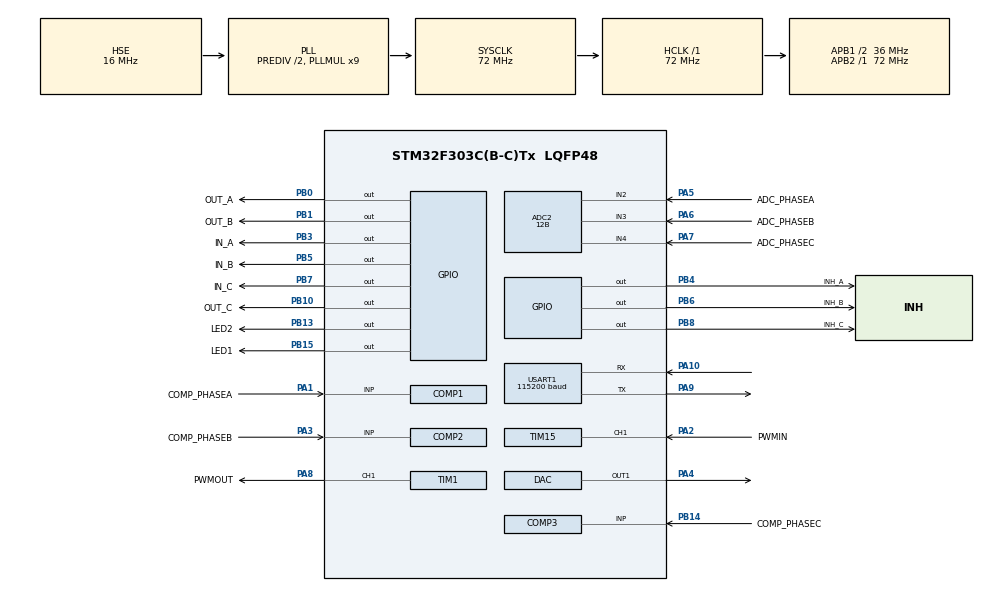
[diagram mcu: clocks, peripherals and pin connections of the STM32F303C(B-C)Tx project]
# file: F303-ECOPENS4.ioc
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ADC2.Channel-1\#ChannelRegularConversion=ADC_CHANNEL_2
ADC2.Channel-2\#ChannelRegularConversion=ADC_CHANNEL_3
ADC2.Channel-3\#ChannelRegularConversion=ADC_CHANNEL_4
ADC2.ClockPrescaler=ADC_CLOCK_ASYNC_DIV1
ADC2.ContinuousConvMode=ENABLE
ADC2.DMAContinuousRequests=ENABLE
ADC2.EOCSelection=ADC_EOC_SEQ_CONV
ADC2.EnableAnalogWatchDog1=false
ADC2.EnableAnalogWatchDog2=false
ADC2.EnableAnalogWatchDog3=false
ADC2.EnableInjectedConversion=DISABLE
ADC2.ExternalTrigConv=ADC_EXTERNALTRIGCONV_T1_TRGO2
ADC2.ExternalTrigConvEdge=ADC_EXTERNALTRIGCONVEDGE_RISING
ADC2.NbrOfConversion=3
ADC2.NbrOfConversionFlag=1
ADC2.Offset-1\#ChannelRegularConversion=0
ADC2.Offset-2\#ChannelRegularConversion=0
ADC2.Offset-3\#ChannelRegularConversion=0
ADC2.OffsetNumber-1\#ChannelRegularConversion=ADC_OFFSET_NONE
ADC2.OffsetNumber-2\#ChannelRegularConversion=ADC_OFFSET_NONE
ADC2.OffsetNumber-3\#ChannelRegularConversion=ADC_OFFSET_NONE
ADC2.Rank-1\#ChannelRegularConversion=1
ADC2.Rank-2\#ChannelRegularConversion=2
ADC2.Rank-3\#ChannelRegularConversion=3
ADC2.Resolution=ADC_RESOLUTION_12B
ADC2.SamplingTime-1\#ChannelRegularConversion=ADC_SAMPLETIME_4CYCLES_5
ADC2.SamplingTime-2\#ChannelRegularConversion=ADC_SAMPLETIME_4CYCLES_5
ADC2.SamplingTime-3\#ChannelRegularConversion=ADC_SAMPLETIME_4CYCLES_5
ADC2.SamplingTimeOPAMP-2\#ChannelRegularConversion=ADC_SAMPLETIME_4CYCLES_5
ADC2.SamplingTimeOPAMP-3\#ChannelRegularConversion=ADC_SAMPLETIME_4CYCLES_5
COMP1.BlankingSrce=COMP_BLANKINGSRCE_TIM1OC5
COMP1.InvertingInput=COMP_INVERTINGINPUT_DAC1_CH1
COMP1.TriggerMode=COMP_TRIGGERMODE_IT_RISING_FALLING
COMP2.BlankingSrce=COMP_BLANKINGSRCE_TIM1OC5
COMP2.InvertingInput=COMP_INVERTINGINPUT_DAC1_CH1
COMP2.TriggerMode=COMP_TRIGGERMODE_IT_RISING_FALLING
COMP3.BlankingSrce=COMP_BLANKINGSRCE_TIM1OC5
COMP3.InvertingInput=COMP_INVERTINGINPUT_DAC1_CH1
COMP3.TriggerMode=COMP_TRIGGERMODE_IT_RISING_FALLING
Dma.ADC2.1.Direction=DMA_PERIPH_TO_MEMORY
Dma.ADC2.1.Instance=DMA2_Channel1
Dma.ADC2.1.MemDataAlignment=DMA_MDATAALIGN_HALFWORD
Dma.ADC2.1.MemInc=DMA_MINC_ENABLE
Dma.ADC2.1.Mode=DMA_CIRCULAR
Dma.ADC2.1.PeriphDataAlignment=DMA_PDATAALIGN_HALFWORD
Dma.ADC2.1.PeriphInc=DMA_PINC_DISABLE
Dma.ADC2.1.Priority=DMA_PRIORITY_LOW
Dma.Request0=USART1_RX
Dma.Request1=ADC2
Dma.USART1_RX.0.Direction=DMA_PERIPH_TO_MEMORY
Dma.USART1_RX.0.Instance=DMA1_Channel5
Dma.USART1_RX.0.MemDataAlignment=DMA_MDATAALIGN_BYTE
Dma.USART1_RX.0.MemInc=DMA_MINC_ENABLE
Dma.USART1_RX.0.Mode=DMA_CIRCULAR
Dma.USART1_RX.0.PeriphDataAlignment=DMA_PDATAALIGN_BYTE
Dma.USART1_RX.0.PeriphInc=DMA_PINC_DISABLE
Dma.USART1_RX.0.Priority=DMA_PRIORITY_LOW
FREERTOS.Tasks01=comparatorTask,48,256,StartComparatorTask,Default,NULL,Dynamic,NULL,NULL;analogInTask,40,256,StartAnalogInTask,Default,NULL,Dynamic,NULL,NULL;controllerTask,24,256,StartControllerTask,Default,NULL,Dynamic,NULL,NULL;positioningTask,49,256,StartPositioningTask,Default,NULL,Dynamic,NULL,NULL
FREERTOS.configMINIMAL_STACK_SIZE=256
FREERTOS.configTOTAL_HEAP_SIZE=10000
Mcu.Family=STM32F3
Mcu.Name=STM32F303C(B-C)Tx
Mcu.Package=LQFP48
NVIC.ADC1_2_IRQn=true\:5\:0\:false\:false\:true\:true\:true\:true
NVIC.COMP1_2_3_IRQn=true\:5\:0\:false\:false\:true\:true\:false\:true
NVIC.DMA1_Channel5_IRQn=true\:5\:0\:true\:false\:true\:true\:false\:true
NVIC.DMA2_Channel1_IRQn=true\:5\:0\:false\:false\:true\:true\:false\:true
NVIC.PriorityGroup=NVIC_PRIORITYGROUP_4
NVIC.TIM1_BRK_TIM15_IRQn=true\:5\:0\:true\:false\:true\:true\:true\:true
NVIC.TIM1_CC_IRQn=true\:5\:0\:false\:false\:true\:true\:true\:true
NVIC.TIM1_UP_TIM16_IRQn=true\:5\:0\:true\:false\:true\:true\:true\:true
NVIC.TIM3_IRQn=true\:5\:0\:false\:false\:true\:true\:true\:true
NVIC.TIM6_DAC_IRQn=true\:5\:0\:true\:false\:true\:true\:true\:true
NVIC.TIM7_IRQn=true\:15\:0\:false\:false\:true\:false\:false\:true
NVIC.TimeBase=TIM7_IRQn
NVIC.TimeBaseIP=TIM7
PA0.GPIO_Label=ADC_CS
PA0.Signal=ADC1_IN1
PA1.GPIO_Label=COMP_PHASEA
PA1.Mode=INP
PA1.Signal=COMP1_INP
PA10.Mode=Asynchronous
PA10.Signal=USART1_RX
PA13.Mode=Serial_Wire
PA13.Signal=SYS_JTMS-SWDIO
PA14.Mode=Serial_Wire
PA14.Signal=SYS_JTCK-SWCLK
PA2.GPIO_Label=PWMIN
PA2.GPIO_PuPd=GPIO_PULLDOWN
PA2.GPIO_Speed=GPIO_SPEED_FREQ_LOW
PA2.Signal=S_TIM15_CH1
PA3.GPIO_Label=COMP_PHASEB
PA3.Mode=INP
PA3.Signal=COMP2_INP
PA4.Signal=COMP_DAC1_group
PA5.GPIO_Label=ADC_PHASEA
PA5.Mode=IN2-Single-Ended
PA5.Signal=ADC2_IN2
PA6.GPIO_Label=ADC_PHASEB
PA6.Mode=IN3-Single-Ended
PA6.Signal=ADC2_IN3
PA7.GPIO_Label=ADC_PHASEC
PA7.Mode=IN4-Single-Ended
PA7.Signal=ADC2_IN4
PA8.GPIO_Label=PWMOUT
PA8.GPIO_PuPd=GPIO_PULLDOWN
PA8.GPIO_Speed=GPIO_SPEED_FREQ_HIGH
PA8.Signal=S_TIM1_CH1
PA9.Mode=Asynchronous
PA9.Signal=USART1_TX
PB0.GPIO_Label=OUT_A
PB0.GPIO_ModeDefaultOutputPP=GPIO_MODE_OUTPUT_OD
PB0.PinState=GPIO_PIN_RESET
PB0.Signal=GPIO_Output
PB1.GPIO_Label=OUT_B
PB1.GPIO_ModeDefaultOutputPP=GPIO_MODE_OUTPUT_OD
PB1.PinState=GPIO_PIN_RESET
PB1.Signal=GPIO_Output
PB10.GPIO_Label=OUT_C
PB10.GPIO_ModeDefaultOutputPP=GPIO_MODE_OUTPUT_OD
PB10.Signal=GPIO_Output
PB12.GPIO_Label=ADC_VBUS
PB12.Signal=ADC4_IN3
PB13.GPIO_Label=LED2
PB13.Signal=GPIO_Output
PB14.GPIO_Label=COMP_PHASEC
PB14.Mode=INP
PB14.Signal=COMP3_INP
PB15.GPIO_Label=LED1
PB15.Signal=GPIO_Output
PB3.GPIO_Label=IN_A
PB3.GPIO_ModeDefaultOutputPP=GPIO_MODE_OUTPUT_OD
PB3.Signal=GPIO_Output
PB4.GPIO_Label=INH_A
PB4.Signal=GPIO_Output
PB5.GPIO_Label=IN_B
PB5.GPIO_ModeDefaultOutputPP=GPIO_MODE_OUTPUT_OD
PB5.Signal=GPIO_Output
PB6.GPIO_Label=INH_B
PB6.Signal=GPIO_Output
PB7.GPIO_Label=IN_C
PB7.GPIO_ModeDefaultOutputPP=GPIO_MODE_OUTPUT_OD
PB7.Signal=GPIO_Output
PB8.GPIO_Label=INH_C
PB8.Signal=GPIO_Output
PF0-OSC_IN.Mode=HSE-External-Oscillator
PF0-OSC_IN.Signal=RCC_OSC_IN
PF1-OSC_OUT.Mode=HSE-External-Oscillator
PF1-OSC_OUT.Signal=RCC_OSC_OUT
ProjectManager.HeapSize=0x200
ProjectManager.StackSize=0x400
ProjectManager.TargetToolchain=STM32CubeIDE
RCC.ADC12PRES=RCC_ADC12PLLCLK_DIV2
RCC.ADC34PRES=RCC_ADC34PLLCLK_DIV12
RCC.AHBFreq_Value=72000000
RCC.APB1CLKDivider=RCC_HCLK_DIV2
RCC.APB1Freq_Value=36000000
RCC.APB1TimFreq_Value=72000000
RCC.APB2Freq_Value=72000000
RCC.APB2TimFreq_Value=72000000
RCC.CortexFreq_Value=72000000
RCC.HCLKFreq_Value=72000000
RCC.HSE_VALUE=16000000
RCC.HSI_VALUE=8000000
RCC.LSE_VALUE=32768
RCC.PLLMUL=RCC_PLL_MUL9
RCC.PLLSourceVirtual=RCC_PLLSOURCE_HSE
RCC.RCC_PLLsource_Clock_Source_FROM_HSE=RCC_HSE_PREDIV_DIV2
RCC.SYSCLKFreq_VALUE=72000000
RCC.SYSCLKSourceVirtual=RCC_SYSCLKSOURCE_PLLCLK
RCC.USBFreq_Value=72000000
SH.COMP_DAC1_group.0=DAC_OUT1,DAC_OUT1
SH.S_TIM15_CH1.0=TIM15_CH1,Input_Capture1_from_TI1
SH.S_TIM1_CH1.0=TIM1_CH1,PWM Generation1 CH1
TIM1.Channel-PWM\ Generation1\ CH1=TIM_CHANNEL_1
TIM1.Channel-PWM\ Generation5\ No\ Output=TIM_CHANNEL_5
TIM1.CounterMode=TIM_COUNTERMODE_CENTERALIGNED3
TIM1.OCFastMode_PWM-PWM\ Generation1\ CH1=TIM_OCFAST_ENABLE
TIM1.OCFastMode_PWM-PWM\ Generation5\ No\ Output=TIM_OCFAST_ENABLE
TIM1.OCIdleState_1=TIM_OCIDLESTATE_SET
TIM1.OCIdleState_5=TIM_OCIDLESTATE_SET
TIM1.OCMode_PWM-PWM\ Generation1\ CH1=TIM_OCMODE_PWM1
TIM1.Period=1800
TIM1.Prescaler=0
TIM1.Pulse-PWM\ Generation1\ CH1=0
TIM1.TIM_MasterOutputTrigger=TIM_TRGO_UPDATE
TIM1.TIM_MasterOutputTrigger2=TIM_TRGO2_OC5REF
TIM15.Channel-Input_Capture1_from_TI1=TIM_CHANNEL_1
TIM15.Channel-Input_Capture2_from_TI1_63=TIM_CHANNEL_2
TIM15.ICPolarity_CH2=TIM_INPUTCHANNELPOLARITY_FALLING
TIM15.Prescaler=72 - 1
TIM16.Period=1000
TIM16.Prescaler=72 - 1
TIM2.ClockDivision=TIM_CLOCKDIVISION_DIV1
TIM2.Prescaler=0
TIM3.Channel-Output\ Compare1\ No\ Output=TIM_CHANNEL_1
TIM3.Period=65000
TIM3.Prescaler=1
TIM3.Pulse-Output\ Compare1\ No\ Output=500
TIM6.Period=10
TIM6.Prescaler=72 - 1
USART1.BaudRate=115200
USART1.VirtualMode-Asynchronous=VM_ASYNC
VP_COMP1_VS_DAC1OUT1.Mode=INM_DACOUT1
VP_COMP2_VS_DAC1OUT1.Mode=INM_DACOUT1
VP_COMP3_VS_DAC1OUT1.Mode=INM_DACOUT1
VP_FREERTOS_VS_CMSIS_V2.Mode=CMSIS_V2
VP_SYS_VS_tim7.Mode=TIM7
VP_TIM15_VS_ClockSourceINT.Mode=Internal
VP_TIM15_VS_indirect_ch1.Mode=Input_Capture2_from_TI1_63
VP_TIM16_VS_ClockSourceINT.Mode=Enable_Timer
VP_TIM1_VS_no_output5.Mode=PWM Generation5 No Output
VP_TIM2_VS_ClockSourceINT.Mode=Internal
VP_TIM3_VS_no_output1.Mode=Output Compare1 No Output
VP_TIM6_VS_ClockSourceINT.Mode=Enable_Timer
board=custom

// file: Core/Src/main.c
/* USER CODE BEGIN Header */
/**
 ******************************************************************************
 * @file           : main.c
 * @brief          : Main program body
 ******************************************************************************
 * @attention
 *
 * <h2><center>&copy; Copyright (c) 2021 STMicroelectronics.
 * All rights reserved.</center></h2>
 *
 * This software component is licensed by ST under Ultimate Liberty license
 * SLA0044, the "License"; You may not use this file except in compliance with
 * the License. You may obtain a copy of the License at:
 *                             www.st.com/SLA0044
 *
 ******************************************************************************
 */
/* USER CODE END Header */
#include "main.h"
#include "cmsis_os.h"

/* USER CODE BEGIN Includes */
#include "retarget.h"
#include <stdio.h>
#include <stdbool.h>
#include <dwt_delay.h>
/* USER CODE END Includes */

/* USER CODE BEGIN PTD */
typedef enum {
	MODE_MOTOR_STOP,
	MODE_MOTOR_CALIBRATION,
	MODE_MOTOR_READY,
	MODE_MOTOR_START,
	MODE_MOTOR_RUN
} MODE_MOTOR_t;

typedef enum {
	BEMF_FALLING = 0, BEMF_RISING
} BEMF_DIR_t;

typedef enum {
	PHASE_A = 0, PHASE_B, PHASE_C
} PHASE_t;
/* USER CODE END PTD */

/* USER CODE BEGIN PD */
#define COMP1_CALLBACK 1
#define COMP2_CALLBACK 2
#define COMP3_CALLBACK 3
/* USER CODE END PD */

ADC_HandleTypeDef hadc2;
DMA_HandleTypeDef hdma_adc2;

COMP_HandleTypeDef hcomp1;
COMP_HandleTypeDef hcomp2;
COMP_HandleTypeDef hcomp3;

DAC_HandleTypeDef hdac;

TIM_HandleTypeDef htim1;
TIM_HandleTypeDef htim2;
TIM_HandleTypeDef htim3;
TIM_HandleTypeDef htim6;
TIM_HandleTypeDef htim15;
TIM_HandleTypeDef htim16;

UART_HandleTypeDef huart1;
DMA_HandleTypeDef hdma_usart1_rx;

/* Definitions for comparatorTask */
osThreadId_t comparatorTaskHandle;
const osThreadAttr_t comparatorTask_attributes = {
  .name = "comparatorTask",
  .stack_size = 256 * 4,
  .priority = (osPriority_t) osPriorityRealtime,
};
/* Definitions for analogInTask */
osThreadId_t analogInTaskHandle;
const osThreadAttr_t analogInTask_attributes = {
  .name = "analogInTask",
  .stack_size = 256 * 4,
  .priority = (osPriority_t) osPriorityHigh,
};
/* Definitions for controllerTask */
osThreadId_t controllerTaskHandle;
const osThreadAttr_t controllerTask_attributes = {
  .name = "controllerTask",
  .stack_size = 256 * 4,
  .priority = (osPriority_t) osPriorityNormal,
};
/* Definitions for positioningTask */
osThreadId_t positioningTaskHandle;
const osThreadAttr_t positioningTask_attributes = {
  .name = "positioningTask",
  .stack_size = 256 * 4,
  .priority = (osPriority_t) osPriorityRealtime1,
};
/* USER CODE BEGIN PV */
uint8_t compTrig = 0;

uint8_t buffer[200];
volatile uint16_t strSize;
volatile uint8_t commutationStepCounter;
volatile uint8_t waitForCommutation = 1;

uint32_t tim2cnt;
uint8_t RXBuffer[200];
bool USART1DataFlag = false;
float adcIntegral = 0;
bool adcDMAStarted = false;

volatile int16_t newPWM = 100;
volatile int16_t setPWM = 100;
volatile int16_t compWindowOffset = 250 * 2; //this opens a comparator window to block overshooting signals from triggering (adjust to Vbat)
volatile uint16_t oc5Value = 200; //preset offset-value (for fine tuning) of the DAC voltage output as the reference voltage for the compartors (about 0V or Vbat/2)
volatile uint8_t pwmState = 0; //indicates whether a zero crossing (pwm low) or a Vbat/2 crossing (pwm high) will be detected; 0 = PWM low detection, 1 = PWM high detection

ADC_ChannelConfTypeDef sConfig;
TIM_OC_InitTypeDef sConfigOC5B;
TIM_OC_InitTypeDef sConfigOC5A;
bool firstStart = false;

volatile bool readRotation = false;

float measuredRPM = 0;
float inputRPM = 0;
uint32_t rpm_cnt = 0;

uint16_t input_pwm_min = 1000;
uint16_t input_pwm_max = 2000;

uint32_t inputDutyCycle = 0;
uint32_t pastInputDutyCycle = 0;
float inputFrequency = 0;
uint16_t oc5ValueOld = 0;

uint16_t adcVbus = 3900;

PHASE_t phase_bemf = PHASE_B;

BEMF_DIR_t bemf_dir = BEMF_FALLING;

MODE_MOTOR_t mode_motor = MODE_MOTOR_STOP;

uint16_t adc2DMA[10] = { 0 };

float errorPWM = 0.0;
float integralErrorPWM = 0.0;

uint32_t IntegralOffset = 3800;
uint32_t errorVal = 5;

bool a = false;
bool x = false;
bool y = false;
bool z = false;

/* USER CODE END PV */

void SystemClock_Config(void);
static void MX_GPIO_Init(void);
static void MX_DMA_Init(void);
static void MX_COMP1_Init(void);
static void MX_COMP2_Init(void);
static void MX_COMP3_Init(void);
static void MX_DAC_Init(void);
static void MX_TIM1_Init(void);
static void MX_USART1_UART_Init(void);
static void MX_ADC2_Init(void);
static void MX_TIM15_Init(void);
static void MX_TIM2_Init(void);
static void MX_TIM6_Init(void);
static void MX_TIM16_Init(void);
static void MX_TIM3_Init(void);
void StartComparatorTask(void *argument);
void StartAnalogInTask(void *argument);
void StartControllerTask(void *argument);
void StartPositioningTask(void *argument);

/* USER CODE BEGIN 0 */

void commutateNow_0(void) {
	HAL_GPIO_WritePin(INH_A_GPIO_Port, INH_A_Pin, GPIO_PIN_SET); //PHASE A HIGH
	HAL_GPIO_WritePin(IN_A_GPIO_Port, IN_A_Pin, GPIO_PIN_SET);

	HAL_GPIO_WritePin(INH_B_GPIO_Port, INH_B_Pin, GPIO_PIN_RESET); //PHASE B FLOATING
	HAL_GPIO_WritePin(IN_B_GPIO_Port, IN_B_Pin, GPIO_PIN_RESET);

	HAL_GPIO_WritePin(INH_C_GPIO_Port, INH_C_Pin, GPIO_PIN_SET); //PHASE C LOW
	HAL_GPIO_WritePin(IN_C_GPIO_Port, IN_C_Pin, GPIO_PIN_RESET);
}

void commutateNow_1(void) {
	HAL_GPIO_WritePin(INH_A_GPIO_Port, INH_A_Pin, GPIO_PIN_RESET); //PHASE A FLOATING
	HAL_GPIO_WritePin(IN_A_GPIO_Port, IN_A_Pin, GPIO_PIN_RESET);

	HAL_GPIO_WritePin(INH_B_GPIO_Port, INH_B_Pin, GPIO_PIN_SET); //PHASE B HIGH
	HAL_GPIO_WritePin(IN_B_GPIO_Port, IN_B_Pin, GPIO_PIN_SET);

	HAL_GPIO_WritePin(INH_C_GPIO_Port, INH_C_Pin, GPIO_PIN_SET); //PHASE C LOW
	HAL_GPIO_WritePin(IN_C_GPIO_Port, IN_C_Pin, GPIO_PIN_RESET);
}

void commutateNow_2(void) {
	HAL_GPIO_WritePin(INH_A_GPIO_Port, INH_A_Pin, GPIO_PIN_SET); //PHASE A LOW
	HAL_GPIO_WritePin(IN_A_GPIO_Port, IN_A_Pin, GPIO_PIN_RESET);

	HAL_GPIO_WritePin(INH_B_GPIO_Port, INH_B_Pin, GPIO_PIN_SET); //PHASE B HIGH
	HAL_GPIO_WritePin(IN_B_GPIO_Port, IN_B_Pin, GPIO_PIN_SET);

	HAL_GPIO_WritePin(INH_C_GPIO_Port, INH_C_Pin, GPIO_PIN_RESET); //PHASE C FLOATING
	HAL_GPIO_WritePin(IN_C_GPIO_Port, IN_C_Pin, GPIO_PIN_RESET);
}

void commutateNow_3(void) {
	HAL_GPIO_WritePin(INH_A_GPIO_Port, INH_A_Pin, GPIO_PIN_SET); //PHASE A LOW
	HAL_GPIO_WritePin(IN_A_GPIO_Port, IN_A_Pin, GPIO_PIN_RESET);

	HAL_GPIO_WritePin(INH_B_GPIO_Port, INH_B_Pin, GPIO_PIN_RESET); //PHASE B FLOATING
	HAL_GPIO_WritePin(IN_B_GPIO_Port, IN_B_Pin, GPIO_PIN_RESET);

	HAL_GPIO_WritePin(INH_C_GPIO_Port, INH_C_Pin, GPIO_PIN_SET); //PHASE C HIGH
	HAL_GPIO_WritePin(IN_C_GPIO_Port, IN_C_Pin, GPIO_PIN_SET);

}

void commutateNow_4(void) {
	HAL_GPIO_WritePin(INH_A_GPIO_Port, INH_A_Pin, GPIO_PIN_RESET); //PHASE A FLOATING
	HAL_GPIO_WritePin(IN_A_GPIO_Port, IN_A_Pin, GPIO_PIN_RESET);

	HAL_GPIO_WritePin(INH_B_GPIO_Port, INH_B_Pin, GPIO_PIN_SET); //PHASE B LOW
	HAL_GPIO_WritePin(IN_B_GPIO_Port, IN_B_Pin, GPIO_PIN_RESET);

	HAL_GPIO_WritePin(INH_C_GPIO_Port, INH_C_Pin, GPIO_PIN_SET); //PHASE C HIGH
	HAL_GPIO_WritePin(IN_C_GPIO_Port, IN_C_Pin, GPIO_PIN_SET);

}
void commutateNow_5(void) {
	HAL_GPIO_WritePin(INH_A_GPIO_Port, INH_A_Pin, GPIO_PIN_SET); //PHASE A HIGH
	HAL_GPIO_WritePin(IN_A_GPIO_Port, IN_A_Pin, GPIO_PIN_SET);

	HAL_GPIO_WritePin(INH_B_GPIO_Port, INH_B_Pin, GPIO_PIN_SET); //PHASE B LOW
	HAL_GPIO_WritePin(IN_B_GPIO_Port, IN_B_Pin, GPIO_PIN_RESET);

	HAL_GPIO_WritePin(INH_C_GPIO_Port, INH_C_Pin, GPIO_PIN_RESET); //PHASE C FLOATING
	HAL_GPIO_WritePin(IN_C_GPIO_Port, IN_C_Pin, GPIO_PIN_RESET);
}

void commutationPattern(uint8_t step) {
	if (step == NEXT && waitForCommutation == 1) {
		bemf_dir = !bemf_dir;
		if (commutationStepCounter < STEP_5)
			commutationStepCounter++;
		else {
			commutationStepCounter = STEP_0;
		}
		switch (commutationStepCounter) {
		case STEP_0:
			commutateNow_0();
			COMPDELAY
			;
			waitForCommutation = 0;
			phase_bemf = PHASE_B;
			bemf_dir = BEMF_RISING;
			HAL_COMP_Start_IT(&hcomp2);
			break;
		case STEP_1:
			commutateNow_1();
			COMPDELAY
			;
			waitForCommutation = 0;
			phase_bemf = PHASE_A;
			bemf_dir = BEMF_FALLING;
			HAL_COMP_Start_IT(&hcomp1);
			break;
		case STEP_2:
			commutateNow_2();
			COMPDELAY
			;
			waitForCommutation = 0;
			phase_bemf = PHASE_C;
			bemf_dir = BEMF_RISING;
			HAL_COMP_Start_IT(&hcomp3);
			break;
		case STEP_3:
			commutateNow_3();
			COMPDELAY
			;
			waitForCommutation = 0;
			phase_bemf = PHASE_B;
			bemf_dir = BEMF_FALLING;
			HAL_COMP_Start_IT(&hcomp2);
			break;
		case STEP_4:
			commutateNow_4();
			COMPDELAY
			;
			waitForCommutation = 0;
			phase_bemf = PHASE_A;
			bemf_dir = BEMF_RISING;
			HAL_COMP_Start_IT(&hcomp1);
			break;
		case STEP_5:
			commutateNow_5();
			COMPDELAY
			;
			waitForCommutation = 0;
			phase_bemf = PHASE_C;
			bemf_dir = BEMF_FALLING;
			HAL_COMP_Start_IT(&hcomp3);
			break;
		}
	} else {
		waitForCommutation = 0;
		switch (step) {
		case STEP_0:
			commutateNow_0();
			break;
		case STEP_1:
			commutateNow_1();
			break;
		case STEP_2:
			commutateNow_2();
			break;
		case STEP_3:
			commutateNow_3();
			break;
		case STEP_4:
			commutateNow_4();
			break;
		case STEP_5:
			commutateNow_5();
			break;
		}
	}
}

void startMotor() {
	setPWM = newPWM = 150;

	TIM1->CCR1 = setPWM;
	TIM1->CCR5 = setPWM + compWindowOffset;

	commutateNow_0();
	HAL_Delay(20);
	commutateNow_1();
	HAL_Delay(20);
	commutateNow_2();
	HAL_Delay(20);
	commutateNow_3();
	HAL_Delay(20);
	commutateNow_4();
	HAL_Delay(20);
	commutateNow_5();
	HAL_Delay(20);

	uint8_t step = 0;
	uint16_t i = 4300;

	while (i > 1300) {
		DWT_Delay(i);
		commutationPattern(step);
		setPWM += 1;
		TIM1->CCR1 = newPWM = setPWM;
		TIM1->CCR1 = setPWM + compWindowOffset;
		step += 1;
		step %= 6;
		i -= 30;
	}

	waitForCommutation = 1;

	commutationStepCounter = step;
	commutationPattern(NEXT);

	mode_motor = MODE_MOTOR_RUN;
}

/* USER CODE END 0 */

int main(void)
{

  /* MCU Configuration--------------------------------------------------------*/

  /* Reset of all peripherals, Initializes the Flash interface and the Systick. */
  HAL_Init();

  /* Configure the system clock */
  SystemClock_Config();

  /* Initialize all configured peripherals */
  MX_GPIO_Init();
  MX_DMA_Init();
  MX_COMP1_Init();
  MX_COMP2_Init();
  MX_COMP3_Init();
  MX_DAC_Init();
  MX_TIM1_Init();
  MX_USART1_UART_Init();
  MX_ADC2_Init();
  MX_TIM15_Init();
  MX_TIM2_Init();
  MX_TIM6_Init();
  MX_TIM16_Init();
  MX_TIM3_Init();
  /* USER CODE BEGIN 2 */
	RetargetInit(&huart1);
	DWT_Init();
	printf("Test\r\n");
	printf("asdf\r\n");

//	HAL_ADC_Start(&hadc4);
//	while (__HAL_ADC_GET_FLAG(&hadc4, ADC_FLAG_EOC) != SET)
//		;

//	adcVbus = HAL_ADC_GetValue(&hadc4);

	sConfigOC5B.OCMode = TIM_OCMODE_PWM1;
	sConfigOC5B.OCFastMode = TIM_OCFAST_DISABLE;
	sConfigOC5B.OCIdleState = TIM_OCIDLESTATE_RESET;
	sConfigOC5B.OCPolarity = TIM_OCPOLARITY_HIGH; //HIGH for PWM low detection

	sConfigOC5A.OCMode = TIM_OCMODE_PWM1;
	sConfigOC5A.OCFastMode = TIM_OCFAST_DISABLE; //DISABLE
	sConfigOC5A.OCIdleState = TIM_OCIDLESTATE_RESET;
	sConfigOC5A.OCPolarity = TIM_OCPOLARITY_LOW; //LOW for PWM high detection

	HAL_TIM_PWM_Start(&htim1, TIM_CHANNEL_1);
	HAL_TIM_PWM_Start(&htim1, TIM_CHANNEL_5);
	//HAL_TIM_OC_Start_IT(&htim3, TIM_CHANNEL_1);
	HAL_TIM_Base_Start(&htim2);
	HAL_TIM_Base_Start(&htim6);
	HAL_TIM_IC_Start_IT(&htim15, TIM_CHANNEL_1);
	HAL_TIM_IC_Start_IT(&htim15, TIM_CHANNEL_2);

	HAL_DAC_Start(&hdac, DAC_CHANNEL_1);
	HAL_DAC_SetValue(&hdac, DAC_CHANNEL_1, DAC_ALIGN_12B_R, 0);

	HAL_ADC_Start_DMA(&hadc2, (uint32_t*) adc2DMA, 3);

	__HAL_DMA_DISABLE_IT(&hdma_adc2, DMA_IT_TC);
	__HAL_DMA_DISABLE_IT(&hdma_adc2, DMA_IT_HT);
	__HAL_ADC_DISABLE_IT(&hadc2, ADC_IT_EOS);
	__HAL_ADC_DISABLE_IT(&hadc2, ADC_IT_EOC);

	HAL_TIM_Base_Start(&htim2);

	setPWM = TIM1->CCR1 = TIM1->CCR5 = 0;

	printf("Mulai!\r\n");

//	HAL_GPIO_WritePin(GPIOB, LED2_Pin, GPIO_PIN_SET);

  /* USER CODE END 2 */

  /* Init scheduler */
  osKernelInitialize();

  /* Create the thread(s) */
  /* creation of comparatorTask */
  comparatorTaskHandle = osThreadNew(StartComparatorTask, NULL, &comparatorTask_attributes);

  /* creation of analogInTask */
  analogInTaskHandle = osThreadNew(StartAnalogInTask, NULL, &analogInTask_attributes);

  /* creation of controllerTask */
  controllerTaskHandle = osThreadNew(StartControllerTask, NULL, &controllerTask_attributes);

  /* creation of positioningTask */
  positioningTaskHandle = osThreadNew(StartPositioningTask, NULL, &positioningTask_attributes);

  /* Start scheduler */
  osKernelStart();

  /* We should never get here as control is now taken by the scheduler */
  /* Infinite loop */
	while (1) {

	}
}

void SystemClock_Config(void)
{
  RCC_OscInitTypeDef RCC_OscInitStruct = {0};
  RCC_ClkInitTypeDef RCC_ClkInitStruct = {0};
  RCC_PeriphCLKInitTypeDef PeriphClkInit = {0};

  /** Initializes the RCC Oscillators according to the specified parameters
  * in the RCC_OscInitTypeDef structure.
  */
  RCC_OscInitStruct.OscillatorType = RCC_OSCILLATORTYPE_HSE;
  RCC_OscInitStruct.HSEState = RCC_HSE_ON;
  RCC_OscInitStruct.HSEPredivValue = RCC_HSE_PREDIV_DIV2;
  RCC_OscInitStruct.HSIState = RCC_HSI_ON;
  RCC_OscInitStruct.PLL.PLLState = RCC_PLL_ON;
  RCC_OscInitStruct.PLL.PLLSource = RCC_PLLSOURCE_HSE;
  RCC_OscInitStruct.PLL.PLLMUL = RCC_PLL_MUL9;
  if (HAL_RCC_OscConfig(&RCC_OscInitStruct) != HAL_OK)
  {
    Error_Handler();
  }
  /** Initializes the CPU, AHB and APB buses clocks
  */
  RCC_ClkInitStruct.ClockType = RCC_CLOCKTYPE_HCLK|RCC_CLOCKTYPE_SYSCLK
                              |RCC_CLOCKTYPE_PCLK1|RCC_CLOCKTYPE_PCLK2;
  RCC_ClkInitStruct.SYSCLKSource = RCC_SYSCLKSOURCE_PLLCLK;
  RCC_ClkInitStruct.AHBCLKDivider = RCC_SYSCLK_DIV1;
  RCC_ClkInitStruct.APB1CLKDivider = RCC_HCLK_DIV2;
  RCC_ClkInitStruct.APB2CLKDivider = RCC_HCLK_DIV1;

  if (HAL_RCC_ClockConfig(&RCC_ClkInitStruct, FLASH_LATENCY_2) != HAL_OK)
  {
    Error_Handler();
  }
  PeriphClkInit.PeriphClockSelection = RCC_PERIPHCLK_USART1|RCC_PERIPHCLK_TIM1
                              |RCC_PERIPHCLK_ADC12;
  PeriphClkInit.Usart1ClockSelection = RCC_USART1CLKSOURCE_PCLK2;
  PeriphClkInit.Adc12ClockSelection = RCC_ADC12PLLCLK_DIV2;
  PeriphClkInit.Tim1ClockSelection = RCC_TIM1CLK_HCLK;
  if (HAL_RCCEx_PeriphCLKConfig(&PeriphClkInit) != HAL_OK)
  {
    Error_Handler();
  }
}

static void MX_ADC2_Init(void)
{

  ADC_ChannelConfTypeDef sConfig = {0};

  /** Common config
  */
  hadc2.Instance = ADC2;
  hadc2.Init.ClockPrescaler = ADC_CLOCK_ASYNC_DIV1;
  hadc2.Init.Resolution = ADC_RESOLUTION_12B;
  hadc2.Init.ScanConvMode = ADC_SCAN_ENABLE;
  hadc2.Init.ContinuousConvMode = ENABLE;
  hadc2.Init.DiscontinuousConvMode = DISABLE;
  hadc2.Init.ExternalTrigConvEdge = ADC_EXTERNALTRIGCONVEDGE_RISING;
  hadc2.Init.ExternalTrigConv = ADC_EXTERNALTRIGCONV_T1_TRGO2;
  hadc2.Init.DataAlign = ADC_DATAALIGN_RIGHT;
  hadc2.Init.NbrOfConversion = 3;
  hadc2.Init.DMAContinuousRequests = ENABLE;
  hadc2.Init.EOCSelection = ADC_EOC_SEQ_CONV;
  hadc2.Init.LowPowerAutoWait = DISABLE;
  hadc2.Init.Overrun = ADC_OVR_DATA_OVERWRITTEN;
  if (HAL_ADC_Init(&hadc2) != HAL_OK)
  {
    Error_Handler();
  }
  /** Configure Regular Channel
  */
  sConfig.Channel = ADC_CHANNEL_2;
  sConfig.Rank = ADC_REGULAR_RANK_1;
  sConfig.SingleDiff = ADC_SINGLE_ENDED;
  sConfig.SamplingTime = ADC_SAMPLETIME_4CYCLES_5;
  sConfig.OffsetNumber = ADC_OFFSET_NONE;
  sConfig.Offset = 0;
  if (HAL_ADC_ConfigChannel(&hadc2, &sConfig) != HAL_OK)
  {
    Error_Handler();
  }
  /** Configure Regular Channel
  */
  sConfig.Channel = ADC_CHANNEL_3;
  sConfig.Rank = ADC_REGULAR_RANK_2;
  if (HAL_ADC_ConfigChannel(&hadc2, &sConfig) != HAL_OK)
  {
    Error_Handler();
  }
  /** Configure Regular Channel
  */
  sConfig.Channel = ADC_CHANNEL_4;
  sConfig.Rank = ADC_REGULAR_RANK_3;
  if (HAL_ADC_ConfigChannel(&hadc2, &sConfig) != HAL_OK)
  {
    Error_Handler();
  }

}

static void MX_COMP1_Init(void)
{

  hcomp1.Instance = COMP1;
  hcomp1.Init.InvertingInput = COMP_INVERTINGINPUT_DAC1_CH1;
  hcomp1.Init.NonInvertingInput = COMP_NONINVERTINGINPUT_IO1;
  hcomp1.Init.Output = COMP_OUTPUT_NONE;
  hcomp1.Init.OutputPol = COMP_OUTPUTPOL_NONINVERTED;
  hcomp1.Init.Hysteresis = COMP_HYSTERESIS_NONE;
  hcomp1.Init.BlankingSrce = COMP_BLANKINGSRCE_TIM1OC5;
  hcomp1.Init.Mode = COMP_MODE_HIGHSPEED;
  hcomp1.Init.WindowMode = COMP_WINDOWMODE_DISABLE;
  hcomp1.Init.TriggerMode = COMP_TRIGGERMODE_IT_RISING_FALLING;
  if (HAL_COMP_Init(&hcomp1) != HAL_OK)
  {
    Error_Handler();
  }

}

static void MX_COMP2_Init(void)
{

  hcomp2.Instance = COMP2;
  hcomp2.Init.InvertingInput = COMP_INVERTINGINPUT_DAC1_CH1;
  hcomp2.Init.NonInvertingInput = COMP_NONINVERTINGINPUT_IO2;
  hcomp2.Init.Output = COMP_OUTPUT_NONE;
  hcomp2.Init.OutputPol = COMP_OUTPUTPOL_NONINVERTED;
  hcomp2.Init.Hysteresis = COMP_HYSTERESIS_NONE;
  hcomp2.Init.BlankingSrce = COMP_BLANKINGSRCE_TIM1OC5;
  hcomp2.Init.Mode = COMP_MODE_HIGHSPEED;
  hcomp2.Init.WindowMode = COMP_WINDOWMODE_DISABLE;
  hcomp2.Init.TriggerMode = COMP_TRIGGERMODE_IT_RISING_FALLING;
  if (HAL_COMP_Init(&hcomp2) != HAL_OK)
  {
    Error_Handler();
  }

}

static void MX_COMP3_Init(void)
{

  hcomp3.Instance = COMP3;
  hcomp3.Init.InvertingInput = COMP_INVERTINGINPUT_DAC1_CH1;
  hcomp3.Init.NonInvertingInput = COMP_NONINVERTINGINPUT_IO1;
  hcomp3.Init.Output = COMP_OUTPUT_NONE;
  hcomp3.Init.OutputPol = COMP_OUTPUTPOL_NONINVERTED;
  hcomp3.Init.Hysteresis = COMP_HYSTERESIS_NONE;
  hcomp3.Init.BlankingSrce = COMP_BLANKINGSRCE_TIM1OC5;
  hcomp3.Init.Mode = COMP_MODE_HIGHSPEED;
  hcomp3.Init.WindowMode = COMP_WINDOWMODE_DISABLE;
  hcomp3.Init.TriggerMode = COMP_TRIGGERMODE_IT_RISING_FALLING;
  if (HAL_COMP_Init(&hcomp3) != HAL_OK)
  {
    Error_Handler();
  }

}

static void MX_DAC_Init(void)
{

  DAC_ChannelConfTypeDef sConfig = {0};

  /** DAC Initialization
  */
  hdac.Instance = DAC;
  if (HAL_DAC_Init(&hdac) != HAL_OK)
  {
    Error_Handler();
  }
  /** DAC channel OUT1 config
  */
  sConfig.DAC_Trigger = DAC_TRIGGER_NONE;
  sConfig.DAC_OutputBuffer = DAC_OUTPUTBUFFER_ENABLE;
  if (HAL_DAC_ConfigChannel(&hdac, &sConfig, DAC_CHANNEL_1) != HAL_OK)
  {
    Error_Handler();
  }

}

static void MX_TIM1_Init(void)
{

  TIM_MasterConfigTypeDef sMasterConfig = {0};
  TIM_OC_InitTypeDef sConfigOC = {0};
  TIM_BreakDeadTimeConfigTypeDef sBreakDeadTimeConfig = {0};

  htim1.Instance = TIM1;
  htim1.Init.Prescaler = 0;
  htim1.Init.CounterMode = TIM_COUNTERMODE_CENTERALIGNED3;
  htim1.Init.Period = 1800;
  htim1.Init.ClockDivision = TIM_CLOCKDIVISION_DIV1;
  htim1.Init.RepetitionCounter = 0;
  htim1.Init.AutoReloadPreload = TIM_AUTORELOAD_PRELOAD_DISABLE;
  if (HAL_TIM_PWM_Init(&htim1) != HAL_OK)
  {
    Error_Handler();
  }
  sMasterConfig.MasterOutputTrigger = TIM_TRGO_UPDATE;
  sMasterConfig.MasterOutputTrigger2 = TIM_TRGO2_OC5REF;
  sMasterConfig.MasterSlaveMode = TIM_MASTERSLAVEMODE_DISABLE;
  if (HAL_TIMEx_MasterConfigSynchronization(&htim1, &sMasterConfig) != HAL_OK)
  {
    Error_Handler();
  }
  sConfigOC.OCMode = TIM_OCMODE_PWM1;
  sConfigOC.Pulse = 0;
  sConfigOC.OCPolarity = TIM_OCPOLARITY_HIGH;
  sConfigOC.OCNPolarity = TIM_OCNPOLARITY_HIGH;
  sConfigOC.OCFastMode = TIM_OCFAST_ENABLE;
  sConfigOC.OCIdleState = TIM_OCIDLESTATE_SET;
  sConfigOC.OCNIdleState = TIM_OCNIDLESTATE_RESET;
  if (HAL_TIM_PWM_ConfigChannel(&htim1, &sConfigOC, TIM_CHANNEL_1) != HAL_OK)
  {
    Error_Handler();
  }
  if (HAL_TIM_PWM_ConfigChannel(&htim1, &sConfigOC, TIM_CHANNEL_5) != HAL_OK)
  {
    Error_Handler();
  }
  sBreakDeadTimeConfig.OffStateRunMode = TIM_OSSR_DISABLE;
  sBreakDeadTimeConfig.OffStateIDLEMode = TIM_OSSI_DISABLE;
  sBreakDeadTimeConfig.LockLevel = TIM_LOCKLEVEL_OFF;
  sBreakDeadTimeConfig.DeadTime = 0;
  sBreakDeadTimeConfig.BreakState = TIM_BREAK_DISABLE;
  sBreakDeadTimeConfig.BreakPolarity = TIM_BREAKPOLARITY_HIGH;
  sBreakDeadTimeConfig.BreakFilter = 0;
  sBreakDeadTimeConfig.Break2State = TIM_BREAK2_DISABLE;
  sBreakDeadTimeConfig.Break2Polarity = TIM_BREAK2POLARITY_HIGH;
  sBreakDeadTimeConfig.Break2Filter = 0;
  sBreakDeadTimeConfig.AutomaticOutput = TIM_AUTOMATICOUTPUT_DISABLE;
  if (HAL_TIMEx_ConfigBreakDeadTime(&htim1, &sBreakDeadTimeConfig) != HAL_OK)
  {
    Error_Handler();
  }
  HAL_TIM_MspPostInit(&htim1);

}

static void MX_TIM2_Init(void)
{

  TIM_ClockConfigTypeDef sClockSourceConfig = {0};
  TIM_MasterConfigTypeDef sMasterConfig = {0};

  htim2.Instance = TIM2;
  htim2.Init.Prescaler = 0;
  htim2.Init.CounterMode = TIM_COUNTERMODE_UP;
  htim2.Init.Period = 4294967295;
  htim2.Init.ClockDivision = TIM_CLOCKDIVISION_DIV1;
  htim2.Init.AutoReloadPreload = TIM_AUTORELOAD_PRELOAD_DISABLE;
  if (HAL_TIM_Base_Init(&htim2) != HAL_OK)
  {
    Error_Handler();
  }
  sClockSourceConfig.ClockSource = TIM_CLOCKSOURCE_INTERNAL;
  if (HAL_TIM_ConfigClockSource(&htim2, &sClockSourceConfig) != HAL_OK)
  {
    Error_Handler();
  }
  sMasterConfig.MasterOutputTrigger = TIM_TRGO_RESET;
  sMasterConfig.MasterSlaveMode = TIM_MASTERSLAVEMODE_DISABLE;
  if (HAL_TIMEx_MasterConfigSynchronization(&htim2, &sMasterConfig) != HAL_OK)
  {
    Error_Handler();
  }

}

static void MX_TIM3_Init(void)
{

  TIM_MasterConfigTypeDef sMasterConfig = {0};
  TIM_OC_InitTypeDef sConfigOC = {0};

  htim3.Instance = TIM3;
  htim3.Init.Prescaler = 1;
  htim3.Init.CounterMode = TIM_COUNTERMODE_UP;
  htim3.Init.Period = 65000;
  htim3.Init.ClockDivision = TIM_CLOCKDIVISION_DIV1;
  htim3.Init.AutoReloadPreload = TIM_AUTORELOAD_PRELOAD_DISABLE;
  if (HAL_TIM_OC_Init(&htim3) != HAL_OK)
  {
    Error_Handler();
  }
  sMasterConfig.MasterOutputTrigger = TIM_TRGO_RESET;
  sMasterConfig.MasterSlaveMode = TIM_MASTERSLAVEMODE_DISABLE;
  if (HAL_TIMEx_MasterConfigSynchronization(&htim3, &sMasterConfig) != HAL_OK)
  {
    Error_Handler();
  }
  sConfigOC.OCMode = TIM_OCMODE_TIMING;
  sConfigOC.Pulse = 500;
  sConfigOC.OCPolarity = TIM_OCPOLARITY_HIGH;
  sConfigOC.OCFastMode = TIM_OCFAST_DISABLE;
  if (HAL_TIM_OC_ConfigChannel(&htim3, &sConfigOC, TIM_CHANNEL_1) != HAL_OK)
  {
    Error_Handler();
  }

}

static void MX_TIM6_Init(void)
{

  TIM_MasterConfigTypeDef sMasterConfig = {0};

  htim6.Instance = TIM6;
  htim6.Init.Prescaler = 72 - 1;
  htim6.Init.CounterMode = TIM_COUNTERMODE_UP;
  htim6.Init.Period = 10;
  htim6.Init.AutoReloadPreload = TIM_AUTORELOAD_PRELOAD_DISABLE;
  if (HAL_TIM_Base_Init(&htim6) != HAL_OK)
  {
    Error_Handler();
  }
  sMasterConfig.MasterOutputTrigger = TIM_TRGO_RESET;
  sMasterConfig.MasterSlaveMode = TIM_MASTERSLAVEMODE_DISABLE;
  if (HAL_TIMEx_MasterConfigSynchronization(&htim6, &sMasterConfig) != HAL_OK)
  {
    Error_Handler();
  }

}

static void MX_TIM15_Init(void)
{

  TIM_ClockConfigTypeDef sClockSourceConfig = {0};
  TIM_MasterConfigTypeDef sMasterConfig = {0};
  TIM_IC_InitTypeDef sConfigIC = {0};

  htim15.Instance = TIM15;
  htim15.Init.Prescaler = 72 - 1;
  htim15.Init.CounterMode = TIM_COUNTERMODE_UP;
  htim15.Init.Period = 65535;
  htim15.Init.ClockDivision = TIM_CLOCKDIVISION_DIV1;
  htim15.Init.RepetitionCounter = 0;
  htim15.Init.AutoReloadPreload = TIM_AUTORELOAD_PRELOAD_DISABLE;
  if (HAL_TIM_Base_Init(&htim15) != HAL_OK)
  {
    Error_Handler();
  }
  sClockSourceConfig.ClockSource = TIM_CLOCKSOURCE_INTERNAL;
  if (HAL_TIM_ConfigClockSource(&htim15, &sClockSourceConfig) != HAL_OK)
  {
    Error_Handler();
  }
  if (HAL_TIM_IC_Init(&htim15) != HAL_OK)
  {
    Error_Handler();
  }
  sMasterConfig.MasterOutputTrigger = TIM_TRGO_RESET;
  sMasterConfig.MasterSlaveMode = TIM_MASTERSLAVEMODE_DISABLE;
  if (HAL_TIMEx_MasterConfigSynchronization(&htim15, &sMasterConfig) != HAL_OK)
  {
    Error_Handler();
  }
  sConfigIC.ICPolarity = TIM_INPUTCHANNELPOLARITY_RISING;
  sConfigIC.ICSelection = TIM_ICSELECTION_DIRECTTI;
  sConfigIC.ICPrescaler = TIM_ICPSC_DIV1;
  sConfigIC.ICFilter = 0;
  if (HAL_TIM_IC_ConfigChannel(&htim15, &sConfigIC, TIM_CHANNEL_1) != HAL_OK)
  {
    Error_Handler();
  }
  sConfigIC.ICPolarity = TIM_INPUTCHANNELPOLARITY_FALLING;
  sConfigIC.ICSelection = TIM_ICSELECTION_INDIRECTTI;
  if (HAL_TIM_IC_ConfigChannel(&htim15, &sConfigIC, TIM_CHANNEL_2) != HAL_OK)
  {
    Error_Handler();
  }

}

static void MX_TIM16_Init(void)
{

  htim16.Instance = TIM16;
  htim16.Init.Prescaler = 72 - 1;
  htim16.Init.CounterMode = TIM_COUNTERMODE_UP;
  htim16.Init.Period = 1000;
  htim16.Init.ClockDivision = TIM_CLOCKDIVISION_DIV1;
  htim16.Init.RepetitionCounter = 0;
  htim16.Init.AutoReloadPreload = TIM_AUTORELOAD_PRELOAD_DISABLE;
  if (HAL_TIM_Base_Init(&htim16) != HAL_OK)
  {
    Error_Handler();
  }

}

static void MX_USART1_UART_Init(void)
{

  huart1.Instance = USART1;
  huart1.Init.BaudRate = 115200;
  huart1.Init.WordLength = UART_WORDLENGTH_8B;
  huart1.Init.StopBits = UART_STOPBITS_1;
  huart1.Init.Parity = UART_PARITY_NONE;
  huart1.Init.Mode = UART_MODE_TX_RX;
  huart1.Init.HwFlowCtl = UART_HWCONTROL_NONE;
  huart1.Init.OverSampling = UART_OVERSAMPLING_16;
  huart1.Init.OneBitSampling = UART_ONE_BIT_SAMPLE_DISABLE;
  huart1.AdvancedInit.AdvFeatureInit = UART_ADVFEATURE_NO_INIT;
  if (HAL_UART_Init(&huart1) != HAL_OK)
  {
    Error_Handler();
  }

}

static void MX_DMA_Init(void)
{

  /* DMA controller clock enable */
  __HAL_RCC_DMA1_CLK_ENABLE();
  __HAL_RCC_DMA2_CLK_ENABLE();

  /* DMA interrupt init */
  /* DMA1_Channel5_IRQn interrupt configuration */
  HAL_NVIC_SetPriority(DMA1_Channel5_IRQn, 5, 0);
  HAL_NVIC_EnableIRQ(DMA1_Channel5_IRQn);
  /* DMA2_Channel1_IRQn interrupt configuration */
  HAL_NVIC_SetPriority(DMA2_Channel1_IRQn, 5, 0);
  HAL_NVIC_EnableIRQ(DMA2_Channel1_IRQn);

}

static void MX_GPIO_Init(void)
{
  GPIO_InitTypeDef GPIO_InitStruct = {0};

  /* GPIO Ports Clock Enable */
  __HAL_RCC_GPIOF_CLK_ENABLE();
  __HAL_RCC_GPIOA_CLK_ENABLE();
  __HAL_RCC_GPIOB_CLK_ENABLE();

  /*Configure GPIO pin Output Level */
  HAL_GPIO_WritePin(GPIOB, OUT_A_Pin|OUT_B_Pin|OUT_C_Pin|LED2_Pin
                          |LED1_Pin|IN_A_Pin|INH_A_Pin|IN_B_Pin
                          |INH_B_Pin|IN_C_Pin|INH_C_Pin, GPIO_PIN_RESET);

  /*Configure GPIO pin : ADC_CS_Pin */
  GPIO_InitStruct.Pin = ADC_CS_Pin;
  GPIO_InitStruct.Mode = GPIO_MODE_ANALOG;
  GPIO_InitStruct.Pull = GPIO_NOPULL;
  HAL_GPIO_Init(ADC_CS_GPIO_Port, &GPIO_InitStruct);

  /*Configure GPIO pins : OUT_A_Pin OUT_B_Pin OUT_C_Pin IN_A_Pin
                           IN_B_Pin IN_C_Pin */
  GPIO_InitStruct.Pin = OUT_A_Pin|OUT_B_Pin|OUT_C_Pin|IN_A_Pin
                          |IN_B_Pin|IN_C_Pin;
  GPIO_InitStruct.Mode = GPIO_MODE_OUTPUT_OD;
  GPIO_InitStruct.Pull = GPIO_NOPULL;
  GPIO_InitStruct.Speed = GPIO_SPEED_FREQ_LOW;
  HAL_GPIO_Init(GPIOB, &GPIO_InitStruct);

  /*Configure GPIO pin : ADC_VBUS_Pin */
  GPIO_InitStruct.Pin = ADC_VBUS_Pin;
  GPIO_InitStruct.Mode = GPIO_MODE_ANALOG;
  GPIO_InitStruct.Pull = GPIO_NOPULL;
  HAL_GPIO_Init(ADC_VBUS_GPIO_Port, &GPIO_InitStruct);

  /*Configure GPIO pins : LED2_Pin LED1_Pin INH_A_Pin INH_B_Pin
                           INH_C_Pin */
  GPIO_InitStruct.Pin = LED2_Pin|LED1_Pin|INH_A_Pin|INH_B_Pin
                          |INH_C_Pin;
  GPIO_InitStruct.Mode = GPIO_MODE_OUTPUT_PP;
  GPIO_InitStruct.Pull = GPIO_NOPULL;
  GPIO_InitStruct.Speed = GPIO_SPEED_FREQ_LOW;
  HAL_GPIO_Init(GPIOB, &GPIO_InitStruct);

}

/* USER CODE BEGIN 4 */
void HAL_ADC_ConvCpltCallback(ADC_HandleTypeDef *hadc) {

}

void HAL_COMP_TriggerCallback(COMP_HandleTypeDef *hcomp) {
	if (hcomp->Instance == COMP1 && waitForCommutation == 0) {
		HAL_COMP_Stop_IT(&hcomp1);
		compTrig = COMP1_CALLBACK;
	} else if (hcomp->Instance == COMP2 && waitForCommutation == 0) {
		HAL_COMP_Stop_IT(&hcomp2);
		compTrig = COMP2_CALLBACK;
	} else if (hcomp->Instance == COMP3 && waitForCommutation == 0) {
		HAL_COMP_Stop_IT(&hcomp3);
		compTrig = COMP3_CALLBACK;
	}
	osThreadFlagsSet(comparatorTaskHandle, 0x1);

}

void HAL_TIM_PWM_PulseFinishedCallback(TIM_HandleTypeDef *htim) {
	static uint32_t total;

	//Motor Kecil 930KV
	//float IntegralOffset = 0.0750;

	if (htim->Instance == TIM1 && htim->Channel == HAL_TIM_ACTIVE_CHANNEL_1) {
		switch (phase_bemf) {
		case PHASE_A:
			total += adc2DMA[0];
			break;
		case PHASE_B:
			total += adc2DMA[1];
			break;
		case PHASE_C:
			total += adc2DMA[2];
			break;
		}
		if (total >= IntegralOffset) {
			if(y){
				if(total - IntegralOffset > errorVal){
					total--;
				}else{
					total = total - IntegralOffset;
				}
			}else{
				total = 0;
			}
			commutationPattern(NEXT);
		}
	}
}

void HAL_TIM_IC_CaptureCallback(TIM_HandleTypeDef *htim){
	static uint32_t Count_RisingEdge;
	static uint32_t Count_FallingEdge;
	static uint32_t Count_Freq1;
	static uint32_t Count_Freq2;
	static bool Freq_State;
	if(htim->Channel == HAL_TIM_ACTIVE_CHANNEL_1){
		Count_RisingEdge = TIM15->CCR1;
		if(Freq_State == 0){
			Freq_State = 1;
			Count_Freq1 = Count_RisingEdge;
		}
		else if(Freq_State == 1){
			Freq_State = 0;
			Count_Freq2 = Count_RisingEdge;
			if(Count_Freq2 > Count_Freq1) inputFrequency = 1/((float)Count_Freq2 - (float)Count_Freq1) * 1000000; //in kHz;
		}
	}else if(htim->Channel == HAL_TIM_ACTIVE_CHANNEL_2){
		Count_FallingEdge = TIM15->CCR2;

		if(Count_RisingEdge < Count_FallingEdge){
			inputDutyCycle = Count_FallingEdge - Count_RisingEdge;
			Count_RisingEdge = 0;
			Count_FallingEdge = 0;
			osThreadFlagsSet(analogInTaskHandle, 0x1);
		}
	}
}
/* USER CODE END 4 */

void StartComparatorTask(void *argument)
{
  /* USER CODE BEGIN 5 */
	bool d = false;
	/* Infinite loop */
	for (;;) {
		osThreadFlagsWait(0x1, osFlagsWaitAny, osWaitForever);

		if (compTrig == COMP1_CALLBACK && waitForCommutation == 0) {
				__HAL_TIM_ENABLE_IT(&htim1, TIM_IT_CC1);

			waitForCommutation = 1;
		} else if (compTrig == COMP2_CALLBACK && waitForCommutation == 0) {
				__HAL_TIM_ENABLE_IT(&htim1, TIM_IT_CC1);

			waitForCommutation = 1;
		} else if (compTrig == COMP3_CALLBACK && waitForCommutation == 0) {
				__HAL_TIM_ENABLE_IT(&htim1, TIM_IT_CC1);

			waitForCommutation = 1;
		}

		if (setPWM >= 200 && !pwmState) {
			HAL_GPIO_WritePin(GPIOB, OUT_A_Pin | OUT_B_Pin | OUT_C_Pin,
					GPIO_PIN_RESET);

			HAL_GPIO_WritePin(GPIOB, LED1_Pin, GPIO_PIN_SET);

			HAL_TIM_PWM_Stop(&htim1, TIM_CHANNEL_5);
			HAL_DAC_SetValue(&hdac, DAC_CHANNEL_1, DAC_ALIGN_12B_R, 2021);
			compWindowOffset = -80;

			HAL_TIM_PWM_ConfigChannel(&htim1, &sConfigOC5A, TIM_CHANNEL_5);
			TIM1->CCR5 = setPWM + compWindowOffset;
			pwmState = 1;
			HAL_TIM_PWM_Start(&htim1, TIM_CHANNEL_5);
		}

		if (setPWM < 200 && pwmState) {
			HAL_GPIO_WritePin(GPIOB, OUT_A_Pin | OUT_B_Pin | OUT_C_Pin,
					GPIO_PIN_SET);

			HAL_GPIO_WritePin(GPIOB, LED1_Pin, GPIO_PIN_RESET);

			HAL_TIM_PWM_Stop(&htim1, TIM_CHANNEL_5);
			HAL_DAC_SetValue(&hdac, DAC_CHANNEL_1, DAC_ALIGN_12B_R, 0);
			compWindowOffset = 250;

			HAL_TIM_PWM_ConfigChannel(&htim1, &sConfigOC5B, TIM_CHANNEL_5);
			TIM1->CCR5 = setPWM + compWindowOffset;
			pwmState = 0;
			HAL_TIM_PWM_Start(&htim1, TIM_CHANNEL_5);
		}
	}
  /* USER CODE END 5 */
}

void StartAnalogInTask(void *argument)
{
  /* USER CODE BEGIN StartAnalogInTask */
//	uint16_t analogIn = 0;
//	uint16_t analogVbus = 0;
//	HAL_ADC_Start(&hadc3);
	/* Infinite loop */
	for (;;) {
//		analogIn = (uint16_t) HAL_ADC_GetValue(&hadc3);
		osThreadFlagsWait(0x1, osFlagsWaitAny, osWaitForever);
		switch (mode_motor) {
		case MODE_MOTOR_STOP:
//			if ((float) analogIn >= 4095.0 * 0.2) {
			if ((float) inputDutyCycle >=  1150) {
				mode_motor = MODE_MOTOR_START;
			}
			break;
		case MODE_MOTOR_CALIBRATION:
			break;
		case MODE_MOTOR_START:
			startMotor();
			break;
		case MODE_MOTOR_RUN:

			if(inputDutyCycle > 1400){
				y = true;
			}else{
				y = false;
			}

			if(pastInputDutyCycle > inputDutyCycle){
				errorVal = 7;
				IntegralOffset = 3800;
			}else if(pastInputDutyCycle < inputDutyCycle){
				errorVal = 5;
				IntegralOffset = 2400;
			}else{
				errorVal = 5;
				IntegralOffset = 3800;
			}
			pastInputDutyCycle = inputDutyCycle;

			if(!y){
				newPWM = map(inputDutyCycle, input_pwm_min, input_pwm_max, PWM_MIN, PWM_MAX);
			}else{
				setPWM = newPWM = map(inputDutyCycle, input_pwm_min, input_pwm_max, PWM_MIN, PWM_MAX);
				TIM1->CCR1 = setPWM;
				TIM1->CCR5 = TIM1->CCR1 + compWindowOffset;
			}

//			if ((float) analogIn < 4095.0 * 0.1) {
			if ((float) inputDutyCycle < 1150) {
				HAL_NVIC_SystemReset();
			}
			break;
		default:
			break;
		}
		osDelay(10);

	}
  /* USER CODE END StartAnalogInTask */
}

void StartControllerTask(void *argument)
{
  /* USER CODE BEGIN StartControllerTask */
	float kp = 0.07;
	float ki = 0.005;
	float outputPWM = 0.0;
	float outputIntegralPWM = 0.0;
	/* Infinite loop */
	HAL_GPIO_WritePin(GPIOB, LED2_Pin, GPIO_PIN_SET);
	for(;;)
	  {
		if(y){
			osDelay(5);
			continue;
		}
		if (mode_motor == MODE_MOTOR_RUN){
			errorPWM = (float) (setPWM - newPWM);
			integralErrorPWM += errorPWM;

			outputIntegralPWM = (integralErrorPWM * ki);
			outputIntegralPWM = constrain(outputIntegralPWM, -500.0, 500.0);

			outputPWM = -(errorPWM * kp) + (-outputIntegralPWM);
			outputPWM = constrain(outputPWM, -500.0, 500.0);
			setPWM += (int16_t) outputPWM;
			setPWM = constrain(setPWM, 0, PWM_MAX);
			TIM1->CCR1 = setPWM;
			TIM1->CCR5 = TIM1->CCR1 + compWindowOffset;
		}
		osDelay(5);
	  }
  /* USER CODE END StartControllerTask */
}

void StartPositioningTask(void *argument)
{
  /* USER CODE BEGIN StartPositioningTask */
  /* Infinite loop */
  for(;;)
  {
    osDelay(osWaitForever);
  }
  /* USER CODE END StartPositioningTask */
}

void HAL_TIM_PeriodElapsedCallback(TIM_HandleTypeDef *htim)
{
  if (htim->Instance == TIM7) {
    HAL_IncTick();
  }
}

void Error_Handler(void)
{
	__disable_irq();
	while (1) {
	}
}

/************************ (C) COPYRIGHT STMicroelectronics *****END OF FILE****/
